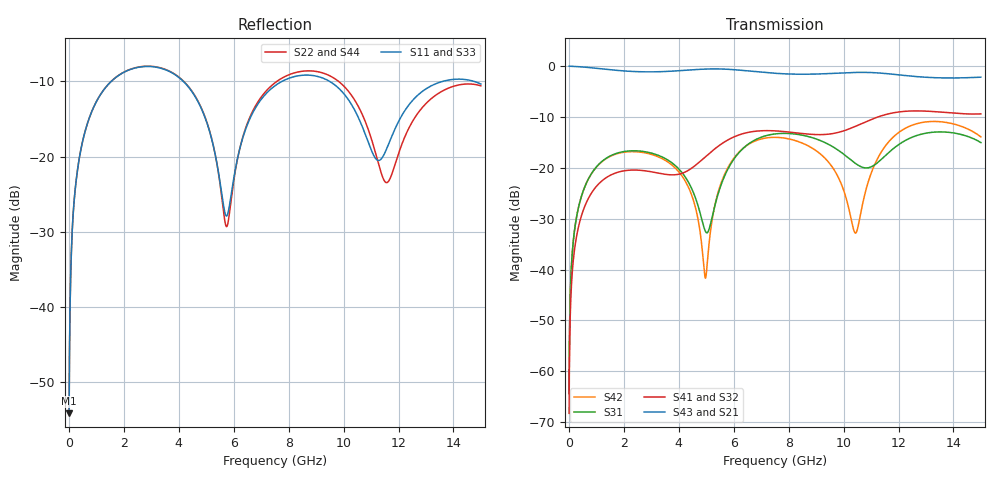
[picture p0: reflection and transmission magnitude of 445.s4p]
! Created with skrf 1.8.0 (http://scikit-rf.org).
# GHz S RI R 50.0
!freq ReS11 ImS11 ReS12 ImS12 ReS13 ImS13
! ReS14 ImS14
! ReS21 ImS21 ReS22 ImS22 ReS23 ImS23
! ReS24 ImS24
! ReS31 ImS31 ReS32 ImS32 ReS33 ImS33
! ReS34 ImS34
! ReS41 ImS41 ReS42 ImS42 ReS43 ImS43
! ReS44 ImS44
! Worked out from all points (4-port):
!   2499 points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, 5 MHz to 15 GHz, reference 50 ohm
!   strongest paths, dB at 5 MHz, 3.476 GHz, 7.19 GHz, 11.1 GHz, 15 GHz:
!     S43: 0.0, -1.1, -1.3, -1.3, -2.2
!     S21: 0.0, -1.1, -1.3, -1.3, -2.2
!     S41: -68.3, -21.3, -12.7, -10.3, -9.4
!     S32: -68.3, -21.3, -12.7, -10.3, -9.5
!     S31: -64.4, -18.1, -13.7, -19.5, -15.0
!     S42: -64.4, -18.4, -14.1, -19.8, -13.9
!   lowest |S11| = -54.1 dB at 5 MHz (marker M1), VSWR 1.00, Z = 50.2 + j0.12 ohm
!   |S11| at or under -10 dB: start of sweep to 1.543 GHz; 4.161 GHz to 7.761 GHz (3.6 GHz wide, 60.4 % of centre); 9.487 GHz to 13.62 GHz (4.13 GHz wide, 35.7 % of centre)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
0.005  0.00157 0.0012  0.9984 -0.00306  7.78e-05 0.000598  -7.57e-05 -0.000379
       0.9984 -0.00306  0.00157 0.0012  -7.57e-05 -0.000379  7.77e-05 0.000598
       7.78e-05 0.000598  -7.57e-05 -0.000379  0.00157 0.0012  0.9984 -0.00306
       -7.57e-05 -0.000379  7.77e-05 0.000598  0.9984 -0.00306  0.00157 0.0012
0.3126303  0.0223 0.079  0.9696 -0.1904  0.00998 0.0356  -0.00821 -0.0224
           0.9696 -0.1904  0.0223 0.079  -0.0082 -0.0224  0.00963 0.0357
           0.00998 0.0356  -0.0082 -0.0224  0.0223 0.079  0.9696 -0.1904
           -0.00821 -0.0224  0.00963 0.0357  0.9696 -0.1904  0.0223 0.079
1.469362  0.2409 0.1899  0.6109 -0.6916  0.1133 0.0626  -0.082 -0.016
          0.6109 -0.6916  0.2423 0.1891  -0.0819 -0.0161  0.109 0.0676
          0.1133 0.0626  -0.0819 -0.0161  0.241 0.1899  0.611 -0.6916
          -0.082 -0.016  0.109 0.0676  0.611 -0.6916  0.2422 0.1892
4.964569  0.1027 -0.1473  -0.8194 -0.4498  -0.0201 -0.0129  -0.057 0.1148
          -0.8194 -0.4498  0.0975 -0.1527  -0.059 0.1138  -0.00739 -0.00364
          -0.0201 -0.0129  -0.059 0.1138  0.1026 -0.1472  -0.8194 -0.4499
          -0.057 0.1148  -0.00739 -0.00364  -0.8194 -0.4499  0.0974 -0.1525
5.533556  0.0422 -0.0451  -0.9235 -0.1569  -0.0148 0.0657  -0.0261 0.1684
          -0.9235 -0.1569  0.0359 -0.0473  -0.0288 0.168  -0.00913 0.0696
          -0.0148 0.0657  -0.0288 0.168  0.0424 -0.0447  -0.9235 -0.157
          -0.0261 0.1684  -0.00913 0.0696  -0.9235 -0.157  0.0355 -0.0474
8.953731  0.3415 -0.0398  0.0396 0.8333  0.1411 -0.1334  0.1978 -0.0775
          0.0396 0.8333  0.3633 -0.0641  0.1978 -0.0706  0.1455 -0.0378
          0.1411 -0.1334  0.1978 -0.0706  0.3412 -0.0434  0.0393 0.8338
          0.1978 -0.0775  0.1455 -0.0378  0.0393 0.8338  0.3611 -0.0608
15  0.2866 -0.0991  -0.0667 -0.7751  0.1345 -0.1153  -0.3225 0.1049
    -0.0667 -0.7751  0.286 -0.0728  -0.3238 0.0866  0.1559 -0.1275
    0.1345 -0.1153  -0.3238 0.0866  0.2885 -0.105  -0.0652 -0.7755
    -0.3225 0.1049  0.1559 -0.1275  -0.0652 -0.7755  0.2825 -0.065
